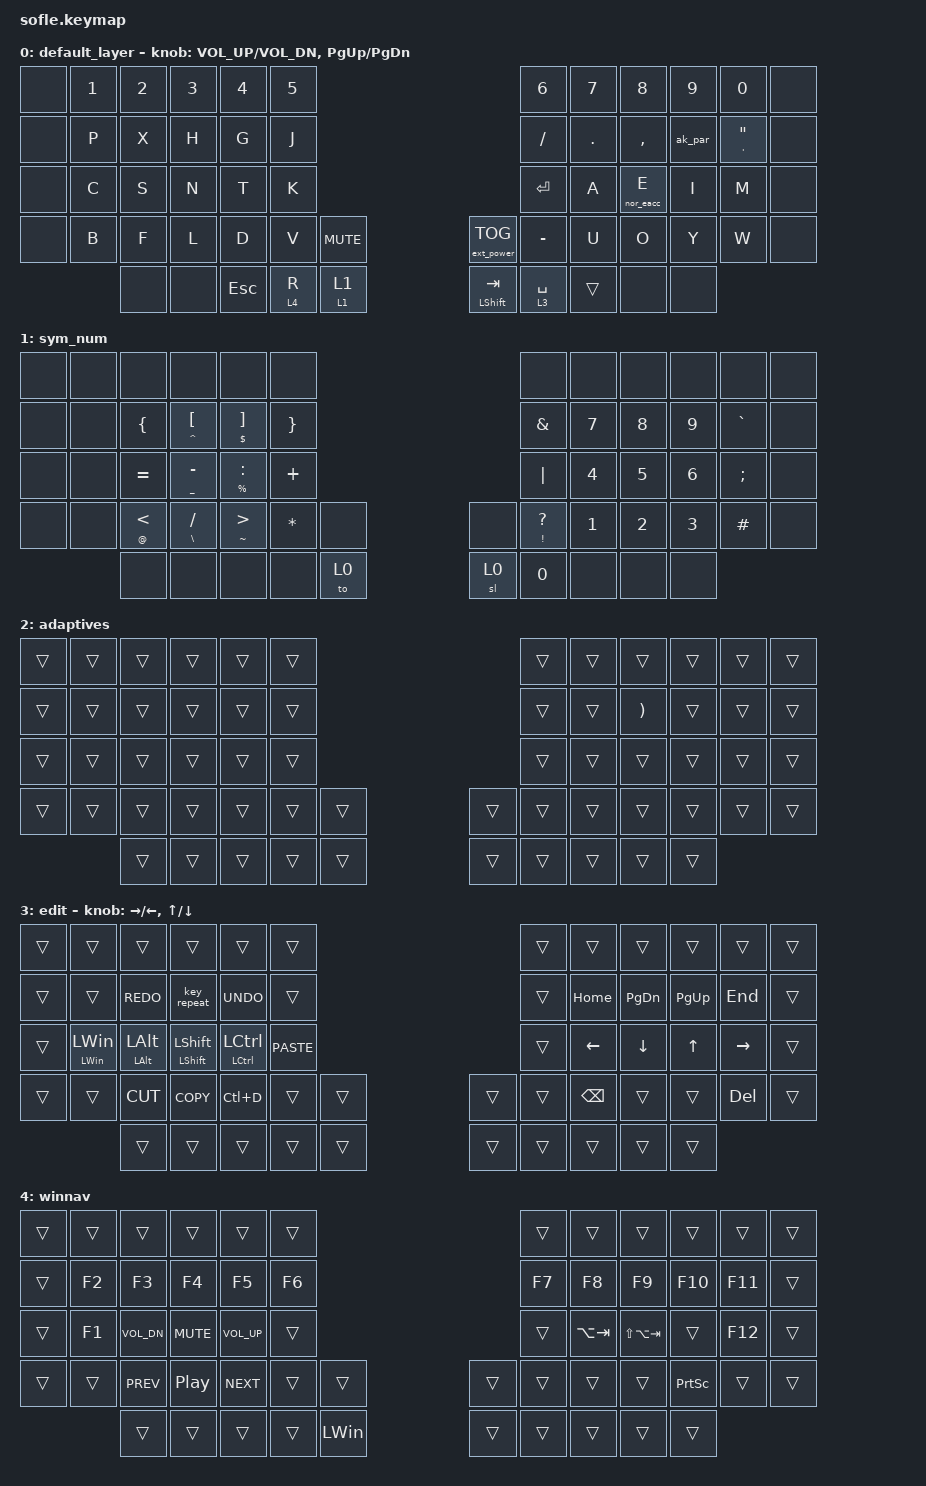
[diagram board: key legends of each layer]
/*
 * Copyright (c) 2020 The ZMK Contributors
 *
 * SPDX-License-Identifier: MIT
 */
/*
 * Temporarily here because nice nano v2 spi is not defined on ZMK Yet
 * Source: https://github.com/zmkfirmware/zmk/blob/main/app/boards/shields/reviung41/boards/nice_nano.overlay
 * GitHub Issue: https://github.com/zmkfirmware/zmk/issues/885
 */

#include <dt-bindings/led/led.h>
#include <behaviors.dtsi>
#include <dt-bindings/zmk/ext_power.h>
#include <dt-bindings/zmk/keys.h>

&pinctrl {
    spi3_default: spi3_default {
        group1 { psels = <NRF_PSEL(SPIM_MOSI, 0, 8)>; };
    };

    spi3_sleep: spi3_sleep {
        group1 {
            psels = <NRF_PSEL(SPIM_MOSI, 0, 8)>;
            low-power-enable;
        };
    };
};

&spi3 {
    compatible = "nordic,nrf-spim";
    status = "okay";
    pinctrl-0 = <&spi3_default>;
    pinctrl-1 = <&spi3_sleep>;
    pinctrl-names = "default", "sleep";

    led_strip: ws2812@0 {
        compatible = "worldsemi,ws2812-spi";
        label = "WS2812";

        /* SPI */

        reg = <0>; /* ignored, but necessary for SPI bindings */
        spi-max-frequency = <4000000>;

        /* WS2812 */

        chain-length = <30>;
        spi-one-frame = <0x70>;
        spi-zero-frame = <0x40>;
        color-mapping = <LED_COLOR_ID_GREEN LED_COLOR_ID_RED LED_COLOR_ID_BLUE>;
    };
};

/ {
    chosen { zmk,underglow = &led_strip; };
};

/* END temporary RGB support section */

/ {
    combos {
        compatible = "zmk,combos";

        Zpx {
            bindings = <&kp Z>;
            key-positions = <14 13>;
        };

        Qxh {
            bindings = <&kp Q>;
            key-positions = <14 15>;
        };

        nor_ae {
            bindings = <&nor_ae>;
            key-positions = <19 20>;
        };

        nor_aa {
            bindings = <&nor_aa>;
            key-positions = <31 32>;
        };

        nor_oe {
            bindings = <&nor_oe>;
            key-positions = <32 33>;
        };
    };

    behaviors {
        ht_tp_tapsl_holdto: ht_tp_tapsl_holdto {
            compatible = "zmk,behavior-hold-tap";
            label = "HT_TP_TAPSL_HOLDTO";
            bindings = <&to>, <&sl>;

            #binding-cells = <2>;
            flavor = "tap-preferred";
            tapping-term-ms = <200>;
        };

        quotes: quotes {
            compatible = "zmk,behavior-mod-morph";
            label = "QUOTES";
            #binding-cells = <0>;
            mods = <(MOD_LSFT|MOD_RSFT)>;
            bindings = <&kp DOUBLE_QUOTES>, <&kp GRAVE>;
        };

        ht_hpidle_tapkp_holdmo: ht_hpidle_tapkp_holdmo {
            compatible = "zmk,behavior-hold-tap";
            label = "HT_HPIDLE_TAPKP_HOLDMO";
            bindings = <&mo>, <&kp>;

            #binding-cells = <2>;
            tapping-term-ms = <200>;
            require-prior-idle-ms = <100>;
        };

        ht_hp_tapsk_holdkp: ht_hp_tapsk_holdkp {
            compatible = "zmk,behavior-hold-tap";
            label = "HT_HP_TAPSK_HOLDKP";
            bindings = <&kp>, <&sk>;

            #binding-cells = <2>;
            tapping-term-ms = <200>;
        };

        eacc: eacc {
            compatible = "zmk,behavior-hold-tap";
            label = "EACC";
            bindings = <&nor_eacc>, <&kp>;

            #binding-cells = <2>;
            tapping-term-ms = <200>;
            flavor = "tap-preferred";
        };
    };

    macros {
        ak_par: ak_par {
            compatible = "zmk,behavior-macro";
            #binding-cells = <0>;
            bindings = <&kp LEFT_PARENTHESIS &sl 2>;
            label = "AK_PAR";
        };

        nor_ae: nor_ae {
            compatible = "zmk,behavior-macro";
            #binding-cells = <0>;
            bindings = <&none>;
            label = "NOR_AE";
        };

        nor_oe: nor_oe {
            compatible = "zmk,behavior-macro";
            #binding-cells = <0>;
            bindings = <&none>;
            label = "NOR_OE";
        };

        nor_aa: nor_aa {
            compatible = "zmk,behavior-macro";
            #binding-cells = <0>;
            bindings = <&none>;
            label = "NOR_AA";
        };

        nor_eacc: eacc {
            compatible = "zmk,behavior-macro";
            #binding-cells = <0>;
            bindings = <&none>;
            label = "EACC";
        };
    };

    keymap {
        compatible = "zmk,keymap";

        default_layer {
            bindings = <
&none  &kp N1  &kp N2  &kp N3  &kp N4   &kp N5                                                  &kp N6                           &kp N7   &kp N8     &kp N9   &kp N0       &none
&none  &kp P   &kp X   &kp H   &kp G    &kp J                                                   &kp SLASH                        &kp DOT  &kp COMMA  &ak_par  &mt SQT DQT  &none
&none  &kp C   &kp S   &kp N   &kp T    &kp K                                                   &kp ENTER                        &kp A    &eacc 0 E  &kp I    &kp M        &none
&none  &kp B   &kp F   &kp L   &kp D    &kp V    &kp C_MUTE                 &ext_power EP_TOG   &kp MINUS                        &kp U    &kp O      &kp Y    &kp W        &none
               &none   &none   &kp ESC  &lt 4 R  &ht_tp_tapsl_holdto 1 1    &mt LEFT_SHIFT TAB  &ht_hpidle_tapkp_holdmo 3 SPACE  &trans   &none      &none
            >;

            sensor-bindings = <&inc_dec_kp C_VOL_UP C_VOL_DN &inc_dec_kp PG_UP PG_DN>;
        };

        sym_num {
            bindings = <
&none  &none  &none      &none            &none              &none                     &none              &none   &none   &none   &none      &none
&none  &none  &kp LBRC   &mt CARET LBKT   &mt DLLR RBKT      &kp RBRC                  &kp AMPS           &kp N7  &kp N8  &kp N9  &kp GRAVE  &none
&none  &none  &kp EQUAL  &mt UNDER MINUS  &mt PERCENT COLON  &kp PLUS                  &kp PIPE           &kp N4  &kp N5  &kp N6  &kp SEMI   &none
&none  &none  &mt AT LT  &mt BSLH FSLH    &mt TILDE GT       &kp STAR  &none    &none  &mt EXCL QUESTION  &kp N1  &kp N2  &kp N3  &kp HASH   &none
              &none      &none            &none              &none     &to 0    &sl 0  &kp N0             &none   &none   &none
            >;
        };

        adaptives {
            bindings = <
&trans  &trans  &trans  &trans  &trans  &trans                    &trans  &trans  &trans                 &trans  &trans  &trans
&trans  &trans  &trans  &trans  &trans  &trans                    &trans  &trans  &kp RIGHT_PARENTHESIS  &trans  &trans  &trans
&trans  &trans  &trans  &trans  &trans  &trans                    &trans  &trans  &trans                 &trans  &trans  &trans
&trans  &trans  &trans  &trans  &trans  &trans  &trans    &trans  &trans  &trans  &trans                 &trans  &trans  &trans
                &trans  &trans  &trans  &trans  &trans    &trans  &trans  &trans  &trans                 &trans
            >;
        };

        edit {
            bindings = <
&trans  &trans                         &trans                         &trans                           &trans                           &trans                         &trans  &trans         &trans     &trans     &trans     &trans
&trans  &trans                         &kp K_REDO                     &key_repeat                      &kp K_UNDO                       &trans                         &trans  &kp HOME       &kp PG_DN  &kp PG_UP  &kp END    &trans
&trans  &ht_hp_tapsk_holdkp LWIN LWIN  &ht_hp_tapsk_holdkp LALT LALT  &ht_hp_tapsk_holdkp LSHFT LSHFT  &ht_hp_tapsk_holdkp LCTRL LCTRL  &kp K_PASTE                    &trans  &kp LEFT       &kp DOWN   &kp UP     &kp RIGHT  &trans
&trans  &trans                         &kp K_CUT                      &kp K_COPY                       &kp LC(D)                        &trans       &trans    &trans  &trans  &kp BACKSPACE  &trans     &trans     &kp DEL    &trans
                                       &trans                         &trans                           &trans                           &trans       &trans    &trans  &trans  &trans         &trans     &trans
            >;

            sensor-bindings = <&inc_dec_kp RIGHT LEFT>, <&inc_dec_kp UP DOWN>;
        };

        winnav {
            bindings = <
&trans  &trans  &trans        &trans            &trans           &trans                          &trans  &trans       &trans           &trans           &trans   &trans
&trans  &kp F2  &kp F3        &kp F4            &kp F5           &kp F6                          &kp F7  &kp F8       &kp F9           &kp F10          &kp F11  &trans
&trans  &kp F1  &kp C_VOL_DN  &kp C_MUTE        &kp C_VOLUME_UP  &trans                          &trans  &kp LA(TAB)  &kp LS(LA(TAB))  &trans           &kp F12  &trans
&trans  &trans  &kp C_PREV    &kp C_PLAY_PAUSE  &kp C_NEXT       &trans  &trans          &trans  &trans  &trans       &trans           &kp PRINTSCREEN  &trans   &trans
                &trans        &trans            &trans           &trans  &kp LEFT_WIN    &trans  &trans  &trans       &trans           &trans
            >;

            label = "winnav";
        };
    };
};
